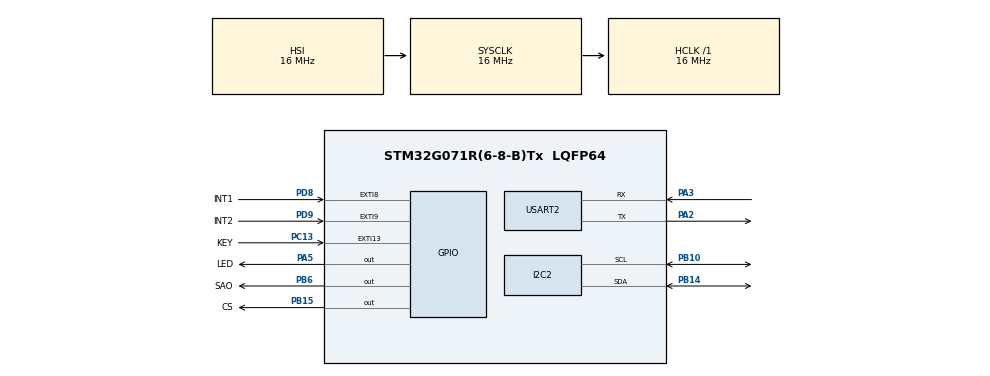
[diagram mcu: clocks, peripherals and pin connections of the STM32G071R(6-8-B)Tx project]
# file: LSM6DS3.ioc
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Mcu.Family=STM32G0
Mcu.Name=STM32G071R(6-8-B)Tx
Mcu.Package=LQFP64
NVIC.EXTI4_15_IRQn=true\:0\:0\:false\:false\:true\:true\:true
PA13.Mode=Serial_Wire
PA13.Signal=SYS_SWDIO
PA14-BOOT0.Mode=Serial_Wire
PA14-BOOT0.Signal=SYS_SWCLK
PA2.Mode=Asynchronous
PA2.Signal=USART2_TX
PA3.Mode=Asynchronous
PA3.Signal=USART2_RX
PA5.GPIO_Label=LED
PA5.Signal=GPIO_Output
PB10.Mode=I2C
PB10.Signal=I2C2_SCL
PB14.Mode=I2C
PB14.Signal=I2C2_SDA
PB15.GPIO_Label=CS
PB15.Signal=GPIO_Output
PB6.GPIO_Label=SAO
PB6.Signal=GPIO_Output
PC13.GPIO_Label=KEY
PC13.GPIO_ModeDefaultEXTI=GPIO_MODE_IT_RISING
PC13.GPIO_PuPd=GPIO_PULLUP
PC13.Signal=GPXTI13
PC14-OSC32_IN\ (PC14).Mode=LSE-External-Oscillator
PC14-OSC32_IN\ (PC14).Signal=RCC_OSC32_IN
PC15-OSC32_OUT\ (PC15).Mode=LSE-External-Oscillator
PC15-OSC32_OUT\ (PC15).Signal=RCC_OSC32_OUT
PD8.GPIO_Label=INT1
PD8.GPIO_ModeDefaultEXTI=GPIO_MODE_IT_FALLING
PD8.Signal=GPXTI8
PD9.GPIO_Label=INT2
PD9.GPIO_ModeDefaultEXTI=GPIO_MODE_IT_FALLING
PD9.Signal=GPXTI9
ProjectManager.HeapSize=0x200
ProjectManager.StackSize=0x400
ProjectManager.TargetToolchain=STM32CubeIDE
RCC.AHBFreq_Value=16000000
RCC.CortexFreq_Value=16000000
RCC.EXTERNAL_CLOCK_VALUE=48000
RCC.HCLKFreq_Value=16000000
RCC.HSE_VALUE=8000000
RCC.HSI_VALUE=16000000
RCC.SYSCLKFreq_VALUE=16000000
RCC.VCOOutputFreq_Value=128000000
USART2.VirtualMode-Asynchronous=VM_ASYNC
VP_SYS_VS_DBSignals.Mode=DisableDeadBatterySignals
board=NUCLEO-G071RB

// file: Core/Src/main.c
/* USER CODE BEGIN Header */
/**
  ******************************************************************************
  * @file           : main.c
  * @brief          : Main program body
  ******************************************************************************
  * @attention
  *
  * <h2><center>&copy; Copyright (c) 2019 STMicroelectronics.
  * All rights reserved.</center></h2>
  *
  * This software component is licensed by ST under BSD 3-Clause license,
  * the "License"; You may not use this file except in compliance with the
  * License. You may obtain a copy of the License at:
  *                        opensource.org/licenses/BSD-3-Clause
  *
  ******************************************************************************
  */
/* USER CODE END Header */

#include "main.h"

/* USER CODE BEGIN Includes */
#include "stdio.h"

#include "LSM6DS3_ACC_GYRO_driver_HL.h"

#include "component.h"
#include "accelerometer.h"
#include "gyroscope.h"
#include "magnetometer.h"
#include "humidity.h"
#include "temperature.h"
//#include "pressure.h
//#include "x_nucleo_iks01a1_accelero.h"
/* USER CODE END Includes */

/* USER CODE BEGIN PTD */
#define M_INT1_GPIO_PORT           GPIOD
#define M_INT1_GPIO_CLK_ENABLE()   __GPIOD_CLK_ENABLE()
#define M_INT1_GPIO_CLK_DISABLE()  __GPIOD_CLK_DISABLE()
#define M_INT1_PIN                 INT1_Pin

#define M_INT1_EXTI_IRQn           EXTI4_15_IRQn

// ready for use
#define M_INT2_GPIO_PORT           GPIOD
#define M_INT2_GPIO_CLK_ENABLE()   __GPIOD_CLK_ENABLE()
#define M_INT2_GPIO_CLK_DISABLE()  __GPIOD_CLK_DISABLE()
#define M_INT2_PIN                 INT2_Pin

#define M_INT2_EXTI_IRQn           EXTI4_15_IRQn

typedef enum
{
  ACCELERO_SENSORS_AUTO = -1,    /* Always first element and equal to -1 */
  LSM6DS0_X_0,                   /* Default on board. */
  LSM6DS3_X_0,                   /* DIL24 adapter. */
  LSM303AGR_X_0,                 /* DIL24 adapter. */
  LIS2DH12_0,                    /* DIL24 adapter. */
  H3LIS331DL_0,                  /* DIL24 adapter. */
  LIS2DW12_0,                    /* DIL24 adapter. */
  LSM6DSL_X_0,                   /* DIL24 adapter. */
  TEST_X_0                       /* For sensor availability test */
} ACCELERO_ID_t;

#define ACCELERO_SENSORS_MAX_NUM 8
#define MAX_BUF_SIZE 256

#define ORIENTATION_CHANGE_INDICATION_DELAY  100  /* LED is ON for this period [ms]. */
/* USER CODE END PTD */

/* USER CODE BEGIN PM */
volatile uint32_t Int_Current_Time1 = 0; /*!< Int_Current_Time1 Value */
volatile uint32_t Int_Current_Time2 = 0; /*!< Int_Current_Time2 Value */

static volatile uint8_t mems_int1_detected       = 0;
static volatile uint8_t send_orientation_request = 0;
static char dataOut[MAX_BUF_SIZE];

static void *LSM6DS3_X_0_handle = NULL;
/* USER CODE END PM */

I2C_HandleTypeDef hi2c2;

UART_HandleTypeDef huart2;

/* USER CODE BEGIN PV */

static DrvContextTypeDef ACCELERO_SensorHandle[ ACCELERO_SENSORS_MAX_NUM ];
static ACCELERO_Data_t ACCELERO_Data[ ACCELERO_SENSORS_MAX_NUM ]; // Accelerometer - all.
static LSM6DS3_X_Data_t LSM6DS3_X_0_Data;                         // Accelerometer - sensor 1.

/* USER CODE END PV */

void SystemClock_Config(void);
static void MX_GPIO_Init(void);
static void MX_I2C2_Init(void);
static void MX_USART2_UART_Init(void);
/* USER CODE BEGIN PFP */
static DrvStatusTypeDef initializeAllSensors(void);
static DrvStatusTypeDef enableAllSensors(void);
//static void sendOrientation(void);
static DrvStatusTypeDef BSP_LSM6DS3_ACCELERO_Init(void **handle);
DrvStatusTypeDef BSP_ACCELERO_Sensor_Enable(void *handle);
DrvStatusTypeDef DIL24_Sensor_IO_ITConfig(void);
DrvStatusTypeDef BSP_ACCELERO_Enable_6D_Orientation_Ext(void *handle, SensorIntPin_t int_pin);
DrvStatusTypeDef BSP_ACCELERO_Init(ACCELERO_ID_t id, void **handle);
static void sendOrientation(void);
DrvStatusTypeDef BSP_ACCELERO_Get_Event_Status_Ext(void *handle, ACCELERO_Event_Status_t *status);
/* USER CODE END PFP */

/* USER CODE BEGIN 0 */
uint8_t Sensor_IO_Write(void *handle, uint8_t WriteAddr, uint8_t *pBuffer, uint16_t nBytesToWrite)
{
	return 	HAL_I2C_Mem_Write(&hi2c2, LSM6DS3_ACC_GYRO_I2C_ADDRESS_HIGH, WriteAddr, I2C_MEMADD_SIZE_8BIT, pBuffer, nBytesToWrite, 100);
}
uint8_t Sensor_IO_Read(void *handle, uint8_t ReadAddr, uint8_t *pBuffer, uint16_t nBytesToRead)
{
	return HAL_I2C_Mem_Read(&hi2c2,LSM6DS3_ACC_GYRO_I2C_ADDRESS_HIGH, ReadAddr, nBytesToRead, pBuffer, nBytesToRead, 100);
}

/*
int _write(int file, char *ptr, int len)
{
  HAL_UART_Transmit(&huart2,(uint8_t *)ptr,len,10);
  return len;
}*/
/* USER CODE END 0 */

int main(void)
{
  /* USER CODE BEGIN 1 */
/*	uint8_t state;

	DrvContextTypeDef lsm6ds3={0};
	SensorAxes_t angular_velocity={0};
	SensorAxesRaw_t angular_velocity1={0};
	uint8_t buf[100];
	lsm6ds3.who_am_i=0x69;
	//	lsm6ds3.isEnabled=1;
	lsm6ds3.pData=&buf; */

//	setbuf(stdout, NULL);//snprint 相关初始�???
  ACCELERO_Event_Status_t status;
  /* USER CODE END 1 */

  /* MCU Configuration--------------------------------------------------------*/

  /* Reset of all peripherals, Initializes the Flash interface and the Systick. */
  HAL_Init();

  /* Configure the system clock */
  SystemClock_Config();

  /* Initialize all configured peripherals */
  MX_GPIO_Init();
  MX_I2C2_Init();
  MX_USART2_UART_Init();
  /* USER CODE BEGIN 2 */
  HAL_GPIO_WritePin(SAO_GPIO_Port, SAO_Pin, SET);//     I2C
  HAL_GPIO_WritePin(CS_GPIO_Port, CS_Pin, SET);
 /* state=HAL_I2C_IsDeviceReady(&hi2c2, 0XD6, 5, 100);
  LSM6DS3_X_Drv.Init(&lsm6ds3);
  LSM6DS3_X_Drv.Sensor_Enable(&lsm6ds3);*/

    /* Initialize all sensors */
  initializeAllSensors();
  /* Enable all sensors */
  enableAllSensors();

  /* Enable 6D orientation */
  BSP_ACCELERO_Enable_6D_Orientation_Ext(LSM6DS3_X_0_handle, INT1_PIN);

  /* USER CODE END 2 */

  /* Infinite loop */
  while (1)
  {

    /* USER CODE BEGIN 3 */

	  	 if (mems_int1_detected != 0)
	  	    {
	  	      if (BSP_ACCELERO_Get_Event_Status_Ext(LSM6DS3_X_0_handle, &status) == COMPONENT_OK)
	  	      {
	  	        if (status.D6DOrientationStatus != 0)
	  	        {
	  	          sendOrientation();
	  	        HAL_GPIO_TogglePin(LED_GPIO_Port, LED_Pin);
	  	          HAL_Delay(ORIENTATION_CHANGE_INDICATION_DELAY);
	  	        HAL_GPIO_TogglePin(LED_GPIO_Port, LED_Pin);
	  	        }
	  	      }
	  	    mems_int1_detected = 0;
	  	    }
/*	  	  LSM6DS3_X_Drv.Get_DRDY_Status(&lsm6ds3,&state);
	  	  if(state)
	  	  {
	  		  HAL_GPIO_WritePin(LED_GPIO_Port, LED_Pin, SET);
	  		  LSM6DS3_X_Drv.Get_Axes(&lsm6ds3,&angular_velocity);
	  		LSM6DS3_X_Drv.Get_AxesRaw(&lsm6ds3,&angular_velocity1);
	  		  printf("0:  %d  %d  %d  ",angular_velocity.AXIS_X,angular_velocity.AXIS_Y,angular_velocity.AXIS_Z);
	  		printf("1:  %d  %d  %d\r\n",angular_velocity1.AXIS_X,angular_velocity1.AXIS_Y,angular_velocity1.AXIS_Z);
	  	  }
	  	  HAL_Delay(200);*/

  }
  /* USER CODE END 3 */
}

void SystemClock_Config(void)
{
  RCC_OscInitTypeDef RCC_OscInitStruct = {0};
  RCC_ClkInitTypeDef RCC_ClkInitStruct = {0};
  RCC_PeriphCLKInitTypeDef PeriphClkInit = {0};

  /** Configure the main internal regulator output voltage
  */
  HAL_PWREx_ControlVoltageScaling(PWR_REGULATOR_VOLTAGE_SCALE1);
  /** Initializes the CPU, AHB and APB busses clocks
  */
  RCC_OscInitStruct.OscillatorType = RCC_OSCILLATORTYPE_HSI;
  RCC_OscInitStruct.HSIState = RCC_HSI_ON;
  RCC_OscInitStruct.HSIDiv = RCC_HSI_DIV1;
  RCC_OscInitStruct.HSICalibrationValue = RCC_HSICALIBRATION_DEFAULT;
  RCC_OscInitStruct.PLL.PLLState = RCC_PLL_NONE;
  if (HAL_RCC_OscConfig(&RCC_OscInitStruct) != HAL_OK)
  {
    Error_Handler();
  }
  /** Initializes the CPU, AHB and APB busses clocks
  */
  RCC_ClkInitStruct.ClockType = RCC_CLOCKTYPE_HCLK|RCC_CLOCKTYPE_SYSCLK
                              |RCC_CLOCKTYPE_PCLK1;
  RCC_ClkInitStruct.SYSCLKSource = RCC_SYSCLKSOURCE_HSI;
  RCC_ClkInitStruct.AHBCLKDivider = RCC_SYSCLK_DIV1;
  RCC_ClkInitStruct.APB1CLKDivider = RCC_HCLK_DIV1;

  if (HAL_RCC_ClockConfig(&RCC_ClkInitStruct, FLASH_LATENCY_0) != HAL_OK)
  {
    Error_Handler();
  }
  /** Initializes the peripherals clocks
  */
  PeriphClkInit.PeriphClockSelection = RCC_PERIPHCLK_USART2;
  PeriphClkInit.Usart2ClockSelection = RCC_USART2CLKSOURCE_PCLK1;
  if (HAL_RCCEx_PeriphCLKConfig(&PeriphClkInit) != HAL_OK)
  {
    Error_Handler();
  }
}

static void MX_I2C2_Init(void)
{

  hi2c2.Instance = I2C2;
  hi2c2.Init.Timing = 0x00303D5B;
  hi2c2.Init.OwnAddress1 = 0;
  hi2c2.Init.AddressingMode = I2C_ADDRESSINGMODE_7BIT;
  hi2c2.Init.DualAddressMode = I2C_DUALADDRESS_DISABLE;
  hi2c2.Init.OwnAddress2 = 0;
  hi2c2.Init.OwnAddress2Masks = I2C_OA2_NOMASK;
  hi2c2.Init.GeneralCallMode = I2C_GENERALCALL_DISABLE;
  hi2c2.Init.NoStretchMode = I2C_NOSTRETCH_DISABLE;
  if (HAL_I2C_Init(&hi2c2) != HAL_OK)
  {
    Error_Handler();
  }
  /** Configure Analogue filter
  */
  if (HAL_I2CEx_ConfigAnalogFilter(&hi2c2, I2C_ANALOGFILTER_ENABLE) != HAL_OK)
  {
    Error_Handler();
  }
  /** Configure Digital filter
  */
  if (HAL_I2CEx_ConfigDigitalFilter(&hi2c2, 0) != HAL_OK)
  {
    Error_Handler();
  }

}

static void MX_USART2_UART_Init(void)
{

  huart2.Instance = USART2;
  huart2.Init.BaudRate = 115200;
  huart2.Init.WordLength = UART_WORDLENGTH_8B;
  huart2.Init.StopBits = UART_STOPBITS_1;
  huart2.Init.Parity = UART_PARITY_NONE;
  huart2.Init.Mode = UART_MODE_TX_RX;
  huart2.Init.HwFlowCtl = UART_HWCONTROL_NONE;
  huart2.Init.OverSampling = UART_OVERSAMPLING_16;
  huart2.Init.OneBitSampling = UART_ONE_BIT_SAMPLE_DISABLE;
  huart2.Init.ClockPrescaler = UART_PRESCALER_DIV1;
  huart2.AdvancedInit.AdvFeatureInit = UART_ADVFEATURE_NO_INIT;
  if (HAL_UART_Init(&huart2) != HAL_OK)
  {
    Error_Handler();
  }
  if (HAL_UARTEx_SetTxFifoThreshold(&huart2, UART_TXFIFO_THRESHOLD_1_8) != HAL_OK)
  {
    Error_Handler();
  }
  if (HAL_UARTEx_SetRxFifoThreshold(&huart2, UART_RXFIFO_THRESHOLD_1_8) != HAL_OK)
  {
    Error_Handler();
  }
  if (HAL_UARTEx_DisableFifoMode(&huart2) != HAL_OK)
  {
    Error_Handler();
  }

}

static void MX_GPIO_Init(void)
{
  GPIO_InitTypeDef GPIO_InitStruct = {0};

  /* GPIO Ports Clock Enable */
  __HAL_RCC_GPIOC_CLK_ENABLE();
  __HAL_RCC_GPIOA_CLK_ENABLE();
  __HAL_RCC_GPIOB_CLK_ENABLE();
  __HAL_RCC_GPIOD_CLK_ENABLE();

  /*Configure GPIO pin Output Level */
  HAL_GPIO_WritePin(LED_GPIO_Port, LED_Pin, GPIO_PIN_RESET);

  /*Configure GPIO pin Output Level */
  HAL_GPIO_WritePin(GPIOB, CS_Pin|SAO_Pin, GPIO_PIN_RESET);

  /*Configure GPIO pin : KEY_Pin */
  GPIO_InitStruct.Pin = KEY_Pin;
  GPIO_InitStruct.Mode = GPIO_MODE_IT_RISING;
  GPIO_InitStruct.Pull = GPIO_PULLUP;
  HAL_GPIO_Init(KEY_GPIO_Port, &GPIO_InitStruct);

  /*Configure GPIO pin : LED_Pin */
  GPIO_InitStruct.Pin = LED_Pin;
  GPIO_InitStruct.Mode = GPIO_MODE_OUTPUT_PP;
  GPIO_InitStruct.Pull = GPIO_NOPULL;
  GPIO_InitStruct.Speed = GPIO_SPEED_FREQ_LOW;
  HAL_GPIO_Init(LED_GPIO_Port, &GPIO_InitStruct);

  /*Configure GPIO pins : CS_Pin SAO_Pin */
  GPIO_InitStruct.Pin = CS_Pin|SAO_Pin;
  GPIO_InitStruct.Mode = GPIO_MODE_OUTPUT_PP;
  GPIO_InitStruct.Pull = GPIO_NOPULL;
  GPIO_InitStruct.Speed = GPIO_SPEED_FREQ_LOW;
  HAL_GPIO_Init(GPIOB, &GPIO_InitStruct);

  /*Configure GPIO pins : INT1_Pin INT2_Pin */
  GPIO_InitStruct.Pin = INT1_Pin|INT2_Pin;
  GPIO_InitStruct.Mode = GPIO_MODE_IT_FALLING;
  GPIO_InitStruct.Pull = GPIO_NOPULL;
  HAL_GPIO_Init(GPIOD, &GPIO_InitStruct);

  /* EXTI interrupt init*/
  HAL_NVIC_SetPriority(EXTI4_15_IRQn, 0, 0);
  HAL_NVIC_EnableIRQ(EXTI4_15_IRQn);

}

/* USER CODE BEGIN 4 */
static DrvStatusTypeDef initializeAllSensors(void)
{
	return BSP_ACCELERO_Init(LSM6DS3_X_0, &LSM6DS3_X_0_handle);
}
static DrvStatusTypeDef enableAllSensors(void)
{
  return BSP_ACCELERO_Sensor_Enable(LSM6DS3_X_0_handle);
}
DrvStatusTypeDef BSP_ACCELERO_Init(ACCELERO_ID_t id, void **handle)
{

  *handle = NULL;

  switch (id)
  {
    default:

    case LSM6DS3_X_0:
      return BSP_LSM6DS3_ACCELERO_Init(handle);

  }

  return COMPONENT_ERROR;
}
static DrvStatusTypeDef BSP_LSM6DS3_ACCELERO_Init(void **handle)
{
  ACCELERO_Drv_t *driver = NULL;

/*  if (Sensor_IO_Init() == COMPONENT_ERROR)
  {
    return COMPONENT_ERROR;
  }
*/
  /* Setup sensor handle. */
  ACCELERO_SensorHandle[ LSM6DS3_X_0 ].who_am_i      = LSM6DS3_ACC_GYRO_WHO_AM_I;
  ACCELERO_SensorHandle[ LSM6DS3_X_0 ].ifType        = 0; /* I2C interface */
  ACCELERO_SensorHandle[ LSM6DS3_X_0 ].address       = LSM6DS3_ACC_GYRO_I2C_ADDRESS_LOW;
  ACCELERO_SensorHandle[ LSM6DS3_X_0 ].instance      = LSM6DS3_X_0;
  ACCELERO_SensorHandle[ LSM6DS3_X_0 ].isInitialized = 0;
  ACCELERO_SensorHandle[ LSM6DS3_X_0 ].isEnabled     = 0;
  ACCELERO_SensorHandle[ LSM6DS3_X_0 ].isCombo       = 1;
  ACCELERO_SensorHandle[ LSM6DS3_X_0 ].pData         = (void *)&ACCELERO_Data[ LSM6DS3_X_0 ];
  ACCELERO_SensorHandle[ LSM6DS3_X_0 ].pVTable       = (void *)&LSM6DS3_X_Drv;
  ACCELERO_SensorHandle[ LSM6DS3_X_0 ].pExtVTable    = (void *)&LSM6DS3_X_ExtDrv;

  ACCELERO_Data[ LSM6DS3_X_0 ].pComponentData = (void *)&LSM6DS3_X_0_Data;
  ACCELERO_Data[ LSM6DS3_X_0 ].pExtData       = 0;

  *handle = (void *)&ACCELERO_SensorHandle[ LSM6DS3_X_0 ];

  driver = (ACCELERO_Drv_t *)((DrvContextTypeDef *)(*handle))->pVTable;

  if (driver->Init == NULL)
  {
    memset((*handle), 0, sizeof(DrvContextTypeDef));
    *handle = NULL;
    return COMPONENT_ERROR;
  }

  if (driver->Init((DrvContextTypeDef *)(*handle)) == COMPONENT_ERROR)
  {
    memset((*handle), 0, sizeof(DrvContextTypeDef));
    *handle = NULL;
    return COMPONENT_ERROR;
  }

  /* Configure interrupt lines common for all sensors in DIL24 socket */
  DIL24_Sensor_IO_ITConfig();

  return COMPONENT_OK;
}
DrvStatusTypeDef DIL24_Sensor_IO_ITConfig(void)
{
  GPIO_InitTypeDef GPIO_InitStructureInt1;
  GPIO_InitTypeDef GPIO_InitStructureInt2;

  /* Enable INT1 GPIO clock */
  M_INT1_GPIO_CLK_ENABLE();

  /* Configure GPIO PINs to detect Interrupts */
  GPIO_InitStructureInt1.Pin = M_INT1_PIN;
  GPIO_InitStructureInt1.Mode = GPIO_MODE_IT_RISING;
  GPIO_InitStructureInt1.Speed = GPIO_SPEED_FREQ_HIGH;
  GPIO_InitStructureInt1.Pull  = GPIO_NOPULL;
  HAL_GPIO_Init(M_INT1_GPIO_PORT, &GPIO_InitStructureInt1);

  /* Enable and set EXTI Interrupt priority */
  HAL_NVIC_SetPriority(M_INT1_EXTI_IRQn, 0x00, 0x00);
  HAL_NVIC_EnableIRQ(M_INT1_EXTI_IRQn);

  /* Enable INT2 GPIO clock */
  M_INT2_GPIO_CLK_ENABLE();

  /* Configure GPIO PINs to detect Interrupts */
  GPIO_InitStructureInt2.Pin = M_INT2_PIN;
  GPIO_InitStructureInt2.Mode = GPIO_MODE_IT_RISING;
  GPIO_InitStructureInt2.Speed = GPIO_SPEED_FREQ_HIGH;
  GPIO_InitStructureInt2.Pull  = GPIO_NOPULL;
  HAL_GPIO_Init(M_INT2_GPIO_PORT, &GPIO_InitStructureInt2);

  /* Enable and set EXTI Interrupt priority */
  HAL_NVIC_SetPriority(M_INT2_EXTI_IRQn, 0x00, 0x00);
  HAL_NVIC_EnableIRQ(M_INT2_EXTI_IRQn);

  return COMPONENT_OK;
}
DrvStatusTypeDef BSP_ACCELERO_Sensor_Enable(void *handle)
{

  DrvContextTypeDef *ctx = (DrvContextTypeDef *)handle;
  ACCELERO_Drv_t *driver = NULL;

  if (ctx == NULL)
  {
    return COMPONENT_ERROR;
  }

  driver = (ACCELERO_Drv_t *)ctx->pVTable;

  if (driver->Sensor_Enable == NULL)
  {
    return COMPONENT_ERROR;
  }

  if (driver->Sensor_Enable(ctx) == COMPONENT_ERROR)
  {
    return COMPONENT_ERROR;
  }

  return COMPONENT_OK;
}
DrvStatusTypeDef BSP_ACCELERO_Enable_6D_Orientation_Ext(void *handle, SensorIntPin_t int_pin)
{

  DrvContextTypeDef *ctx = (DrvContextTypeDef *)handle;

  if (ctx == NULL)
  {
    return COMPONENT_ERROR;
  }

  if (ctx->pExtVTable == NULL)
  {
    return COMPONENT_ERROR;
  }

  /* At the moment this feature is only implemented for LSM6DS3 */
  if (ctx->who_am_i == LSM6DS3_ACC_GYRO_WHO_AM_I)
  {
    LSM6DS3_X_ExtDrv_t *extDriver = (LSM6DS3_X_ExtDrv_t *)ctx->pExtVTable;

    if (extDriver->Enable_6D_Orientation == NULL)
    {
      return COMPONENT_ERROR;
    }

    else
    {
      return extDriver->Enable_6D_Orientation(ctx, int_pin);
    }
  }

  else
  {
    return COMPONENT_ERROR;
  }
}
DrvStatusTypeDef BSP_ACCELERO_Get_Instance(void *handle, uint8_t *instance)
{
  DrvContextTypeDef *ctx = (DrvContextTypeDef *)handle;

  if (ctx == NULL)
  {
    return COMPONENT_ERROR;
  }

  if (instance == NULL)
  {
    return COMPONENT_ERROR;
  }

  *instance = ctx->instance;

  return COMPONENT_OK;
}
DrvStatusTypeDef BSP_ACCELERO_Get_6D_Orientation_XL_Ext(void *handle, uint8_t *xl)
{

  DrvContextTypeDef *ctx = (DrvContextTypeDef *)handle;

  if (ctx == NULL)
  {
    return COMPONENT_ERROR;
  }

  if (ctx->pExtVTable == NULL)
  {
    return COMPONENT_ERROR;
  }

  if (xl == NULL)
  {
    return COMPONENT_ERROR;
  }

  /* At the moment this feature is only implemented for LSM6DS3 */
  if (ctx->who_am_i == LSM6DS3_ACC_GYRO_WHO_AM_I)
  {
    LSM6DS3_X_ExtDrv_t *extDriver = (LSM6DS3_X_ExtDrv_t *)ctx->pExtVTable;

    if (extDriver->Get_6D_Orientation_XL == NULL)
    {
      return COMPONENT_ERROR;
    }

    else
    {
      return extDriver->Get_6D_Orientation_XL(ctx, xl);
    }
  }

  else
  {
    return COMPONENT_ERROR;
  }
}
DrvStatusTypeDef BSP_ACCELERO_Get_6D_Orientation_XH_Ext(void *handle, uint8_t *xh)
{

  DrvContextTypeDef *ctx = (DrvContextTypeDef *)handle;

  if (ctx == NULL)
  {
    return COMPONENT_ERROR;
  }

  if (ctx->pExtVTable == NULL)
  {
    return COMPONENT_ERROR;
  }

  if (xh == NULL)
  {
    return COMPONENT_ERROR;
  }

  /* At the moment this feature is only implemented for LSM6DS3 */
  if (ctx->who_am_i == LSM6DS3_ACC_GYRO_WHO_AM_I)
  {
    LSM6DS3_X_ExtDrv_t *extDriver = (LSM6DS3_X_ExtDrv_t *)ctx->pExtVTable;

    if (extDriver->Get_6D_Orientation_XH == NULL)
    {
      return COMPONENT_ERROR;
    }

    else
    {
      return extDriver->Get_6D_Orientation_XH(ctx, xh);
    }
  }

  else
  {
    return COMPONENT_ERROR;
  }
}
DrvStatusTypeDef BSP_ACCELERO_Get_6D_Orientation_YL_Ext(void *handle, uint8_t *yl)
{

  DrvContextTypeDef *ctx = (DrvContextTypeDef *)handle;

  if (ctx == NULL)
  {
    return COMPONENT_ERROR;
  }

  if (ctx->pExtVTable == NULL)
  {
    return COMPONENT_ERROR;
  }

  if (yl == NULL)
  {
    return COMPONENT_ERROR;
  }

  /* At the moment this feature is only implemented for LSM6DS3 */
  if (ctx->who_am_i == LSM6DS3_ACC_GYRO_WHO_AM_I)
  {
    LSM6DS3_X_ExtDrv_t *extDriver = (LSM6DS3_X_ExtDrv_t *)ctx->pExtVTable;

    if (extDriver->Get_6D_Orientation_YL == NULL)
    {
      return COMPONENT_ERROR;
    }

    else
    {
      return extDriver->Get_6D_Orientation_YL(ctx, yl);
    }
  }

  else
  {
    return COMPONENT_ERROR;
  }
}
DrvStatusTypeDef BSP_ACCELERO_Get_6D_Orientation_YH_Ext(void *handle, uint8_t *yh)
{

  DrvContextTypeDef *ctx = (DrvContextTypeDef *)handle;

  if (ctx == NULL)
  {
    return COMPONENT_ERROR;
  }

  if (ctx->pExtVTable == NULL)
  {
    return COMPONENT_ERROR;
  }

  if (yh == NULL)
  {
    return COMPONENT_ERROR;
  }

  /* At the moment this feature is only implemented for LSM6DS3 */
  if (ctx->who_am_i == LSM6DS3_ACC_GYRO_WHO_AM_I)
  {
    LSM6DS3_X_ExtDrv_t *extDriver = (LSM6DS3_X_ExtDrv_t *)ctx->pExtVTable;

    if (extDriver->Get_6D_Orientation_YH == NULL)
    {
      return COMPONENT_ERROR;
    }

    else
    {
      return extDriver->Get_6D_Orientation_YH(ctx, yh);
    }
  }

  else
  {
    return COMPONENT_ERROR;
  }
}
DrvStatusTypeDef BSP_ACCELERO_Get_6D_Orientation_ZL_Ext(void *handle, uint8_t *zl)
{

  DrvContextTypeDef *ctx = (DrvContextTypeDef *)handle;

  if (ctx == NULL)
  {
    return COMPONENT_ERROR;
  }

  if (ctx->pExtVTable == NULL)
  {
    return COMPONENT_ERROR;
  }

  if (zl == NULL)
  {
    return COMPONENT_ERROR;
  }

  /* At the moment this feature is only implemented for LSM6DS3 */
  if (ctx->who_am_i == LSM6DS3_ACC_GYRO_WHO_AM_I)
  {
    LSM6DS3_X_ExtDrv_t *extDriver = (LSM6DS3_X_ExtDrv_t *)ctx->pExtVTable;

    if (extDriver->Get_6D_Orientation_ZL == NULL)
    {
      return COMPONENT_ERROR;
    }

    else
    {
      return extDriver->Get_6D_Orientation_ZL(ctx, zl);
    }
  }

  else
  {
    return COMPONENT_ERROR;
  }
}
DrvStatusTypeDef BSP_ACCELERO_Get_6D_Orientation_ZH_Ext(void *handle, uint8_t *zh)
{

  DrvContextTypeDef *ctx = (DrvContextTypeDef *)handle;

  if (ctx == NULL)
  {
    return COMPONENT_ERROR;
  }

  if (ctx->pExtVTable == NULL)
  {
    return COMPONENT_ERROR;
  }

  if (zh == NULL)
  {
    return COMPONENT_ERROR;
  }

  /* At the moment this feature is only implemented for LSM6DS3 */
  if (ctx->who_am_i == LSM6DS3_ACC_GYRO_WHO_AM_I)
  {
    LSM6DS3_X_ExtDrv_t *extDriver = (LSM6DS3_X_ExtDrv_t *)ctx->pExtVTable;

    if (extDriver->Get_6D_Orientation_ZH == NULL)
    {
      return COMPONENT_ERROR;
    }

    else
    {
      return extDriver->Get_6D_Orientation_ZH(ctx, zh);
    }
  }

  else
  {
    return COMPONENT_ERROR;
  }
}

static void sendOrientation(void)
{
  uint8_t xl = 0;
  uint8_t xh = 0;
  uint8_t yl = 0;
  uint8_t yh = 0;
  uint8_t zl = 0;
  uint8_t zh = 0;
  uint8_t instance;

  BSP_ACCELERO_Get_Instance(LSM6DS3_X_0_handle, &instance);

  if (BSP_ACCELERO_Get_6D_Orientation_XL_Ext(LSM6DS3_X_0_handle, &xl) == COMPONENT_ERROR)
  {
    snprintf(dataOut, MAX_BUF_SIZE, "Error getting 6D orientation XL axis from LSM6DS3 - accelerometer[%d].\r\n", instance);
    HAL_UART_Transmit(&huart2, (uint8_t *)dataOut, strlen(dataOut), 5000);
    return;
  }
  if (BSP_ACCELERO_Get_6D_Orientation_XH_Ext(LSM6DS3_X_0_handle, &xh) == COMPONENT_ERROR)
  {
    snprintf(dataOut, MAX_BUF_SIZE, "Error getting 6D orientation XH axis from LSM6DS3 - accelerometer[%d].\r\n", instance);
    HAL_UART_Transmit(&huart2, (uint8_t *)dataOut, strlen(dataOut), 5000);
    return;
  }
  if (BSP_ACCELERO_Get_6D_Orientation_YL_Ext(LSM6DS3_X_0_handle, &yl) == COMPONENT_ERROR)
  {
    snprintf(dataOut, MAX_BUF_SIZE, "Error getting 6D orientation YL axis from LSM6DS3 - accelerometer[%d].\r\n", instance);
    HAL_UART_Transmit(&huart2, (uint8_t *)dataOut, strlen(dataOut), 5000);
    return;
  }
  if (BSP_ACCELERO_Get_6D_Orientation_YH_Ext(LSM6DS3_X_0_handle, &yh) == COMPONENT_ERROR)
  {
    snprintf(dataOut, MAX_BUF_SIZE, "Error getting 6D orientation YH axis from LSM6DS3 - accelerometer[%d].\r\n", instance);
    HAL_UART_Transmit(&huart2, (uint8_t *)dataOut, strlen(dataOut), 5000);
    return;
  }
  if (BSP_ACCELERO_Get_6D_Orientation_ZL_Ext(LSM6DS3_X_0_handle, &zl) == COMPONENT_ERROR)
  {
    snprintf(dataOut, MAX_BUF_SIZE, "Error getting 6D orientation ZL axis from LSM6DS3 - accelerometer[%d].\r\n", instance);
    HAL_UART_Transmit(&huart2, (uint8_t *)dataOut, strlen(dataOut), 5000);
    return;
  }
  if (BSP_ACCELERO_Get_6D_Orientation_ZH_Ext(LSM6DS3_X_0_handle, &zh) == COMPONENT_ERROR)
  {
    snprintf(dataOut, MAX_BUF_SIZE, "Error getting 6D orientation ZH axis from LSM6DS3 - accelerometer[%d].\r\n", instance);
    HAL_UART_Transmit(&huart2, (uint8_t *)dataOut, strlen(dataOut), 5000);
    return;
  }

  if (xl == 0 && yl == 0 && zl == 0 && xh == 0 && yh == 1 && zh == 0)
  {
    snprintf(dataOut, MAX_BUF_SIZE, "\r\n  ________________  " \
             "\r\n |                | " \
             "\r\n |  *             | " \
             "\r\n |                | " \
             "\r\n |                | " \
             "\r\n |                | " \
             "\r\n |                | " \
             "\r\n |________________| \r\n");
  }

  else if (xl == 1 && yl == 0 && zl == 0 && xh == 0 && yh == 0 && zh == 0)
  {
    snprintf(dataOut, MAX_BUF_SIZE, "\r\n  ________________  " \
             "\r\n |                | " \
             "\r\n |             *  | " \
             "\r\n |                | " \
             "\r\n |                | " \
             "\r\n |                | " \
             "\r\n |                | " \
             "\r\n |________________| \r\n");
  }

  else if (xl == 0 && yl == 0 && zl == 0 && xh == 1 && yh == 0 && zh == 0)
  {
    snprintf(dataOut, MAX_BUF_SIZE, "\r\n  ________________  " \
             "\r\n |                | " \
             "\r\n |                | " \
             "\r\n |                | " \
             "\r\n |                | " \
             "\r\n |                | " \
             "\r\n |  *             | " \
             "\r\n |________________| \r\n");
  }

  else if (xl == 0 && yl == 1 && zl == 0 && xh == 0 && yh == 0 && zh == 0)
  {
    snprintf(dataOut, MAX_BUF_SIZE, "\r\n  ________________  " \
             "\r\n |                | " \
             "\r\n |                | " \
             "\r\n |                | " \
             "\r\n |                | " \
             "\r\n |                | " \
             "\r\n |             *  | " \
             "\r\n |________________| \r\n");
  }

  else if (xl == 0 && yl == 0 && zl == 0 && xh == 0 && yh == 0 && zh == 1)
  {
    snprintf(dataOut, MAX_BUF_SIZE, "\r\n  __*_____________  " \
             "\r\n |________________| \r\n");
  }

  else if (xl == 0 && yl == 0 && zl == 1 && xh == 0 && yh == 0 && zh == 0)
  {
    snprintf(dataOut, MAX_BUF_SIZE, "\r\n  ________________  " \
             "\r\n |________________| " \
             "\r\n    *               \r\n");
  }

  else
  {
    snprintf(dataOut, MAX_BUF_SIZE, "None of the 6D orientation axes is set in LSM6DS3 - accelerometer[%d].\r\n", instance);
  }

  HAL_UART_Transmit(&huart2, (uint8_t *)dataOut, strlen(dataOut), 5000);
}
DrvStatusTypeDef BSP_ACCELERO_Get_Event_Status_Ext(void *handle, ACCELERO_Event_Status_t *status)
{

  DrvContextTypeDef *ctx = (DrvContextTypeDef *)handle;

  if (ctx == NULL)
  {
    return COMPONENT_ERROR;
  }

  if (ctx->pExtVTable == NULL)
  {
    return COMPONENT_ERROR;
  }

  if (status == NULL)
  {
    return COMPONENT_ERROR;
  }

  /* At the moment this feature is only implemented for LSM6DS3 */
  if (ctx->who_am_i == LSM6DS3_ACC_GYRO_WHO_AM_I)
  {
    LSM6DS3_X_ExtDrv_t *extDriver = (LSM6DS3_X_ExtDrv_t *)ctx->pExtVTable;

    if (extDriver->Get_Event_Status == NULL)
    {
      return COMPONENT_ERROR;
    }

    else
    {
      return extDriver->Get_Event_Status(ctx, status);
    }
  }

  else
  {
    return COMPONENT_ERROR;
  }
}

void HAL_GPIO_EXTI_Callback(uint16_t GPIO_Pin)
{

  /* 6D orientation (available only for LSM6DS3 sensor). */
   if (GPIO_Pin == M_INT1_PIN)
  {
    mems_int1_detected = 1;
  }
}
void HAL_GPIO_EXTI_Falling_Callback(uint16_t GPIO_Pin)
{
  /* Prevent unused argument(s) compilation warning */
  UNUSED(GPIO_Pin);

  /* NOTE: This function should not be modified, when the callback is needed,
           the HAL_GPIO_EXTI_Falling_Callback could be implemented in the user file
   */
  if (GPIO_Pin == M_INT1_PIN)
    {
      mems_int1_detected = 1;
    }
}
void HAL_GPIO_EXTI_Rising_Callback(uint16_t GPIO_Pin)
{
  /* Prevent unused argument(s) compilation warning */
  UNUSED(GPIO_Pin);

  /* NOTE: This function should not be modified, when the callback is needed,
           the HAL_GPIO_EXTI_Falling_Callback could be implemented in the user file
   */
  if (GPIO_Pin == M_INT1_PIN)
    {
      mems_int1_detected = 1;
    }
}
/* USER CODE END 4 */

void Error_Handler(void)
{
}

/************************ (C) COPYRIGHT STMicroelectronics *****END OF FILE****/
